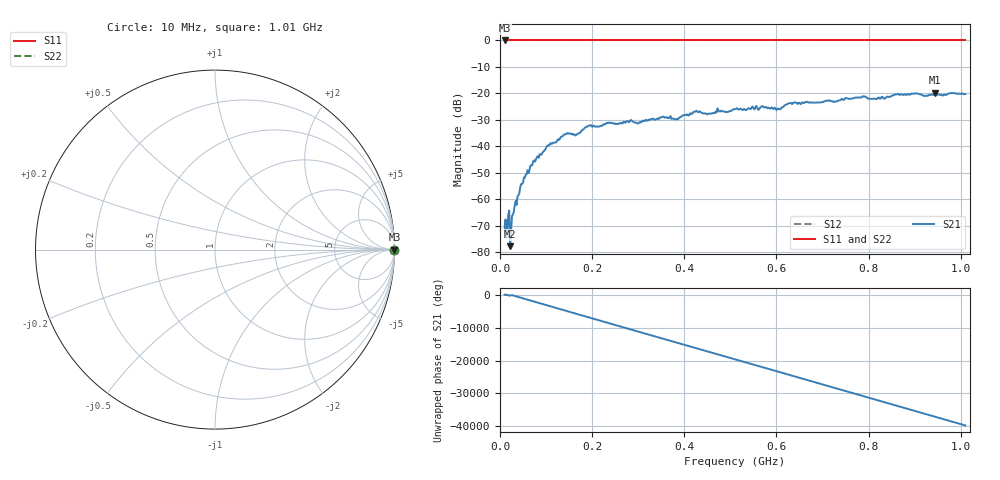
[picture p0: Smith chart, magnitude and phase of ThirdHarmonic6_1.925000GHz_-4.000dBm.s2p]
! 8/16/2025 11:12:16 PM
! C:\ANRITSUVNA\TEMP\TEMP.S2P
! CHANNEL.1
! TR.MEASUREMENT
! RAW.DATA
! RF.CORRECTION.OFF
! AVERAGING.OFF
! IF.BANDWIDTH: 5KHZ
! SWEEPTYPE:  FREQ.SWEEP(Linear)
! Reference Plane Port Info
! PORT:  PORT1  PORT2
! DISTANCE:  0  m  0  m
! TIME:  0  s  0  s
! PHASE.OFFSET:  0  deg.  0  deg.
! LOSS:  0  dB  0  dB
! REF.LOSS:  0  dB  0  dB
! REF.FREQ:  0  Hz  0  Hz
! Power Info
! POWER:  -20  dBm  -20  dBm
! EFF.POWER:  -20  dBm  -20  dBm
! SOURCE.ATTEN:  0  dB  0  dB
! TEST.ATTEN:  0  dB  0  dB
# GHZ S RI R 50.0
! FREQ.GHZ  S11RE  S11IM  S21RE  S21IM  S12RE  S12IM  S22RE  S22IM
!; PortSelection: Port_12
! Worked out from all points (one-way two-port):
!   501 points, 10 MHz to 1.01 GHz, reference 50 ohm
!   highest |S21| = -19.79 dB at 944 MHz (marker M1); lowest = -77.8 dB at 22 MHz (marker M2)
!   lowest |S11| = 0.0 dB at 10 MHz (marker M3)
!   |S11| at or under -10 dB: nowhere
!   |S22| runs from 0.0 to 0.0 dB; largest |S21 - S12| = 1.1
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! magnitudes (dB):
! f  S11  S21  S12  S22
! 10 MHz  0.0  -71.7  0.0  0.0
! 16 MHz  0.0  -71.1  0.0  0.0
! 18 MHz  0.0  -66.1  0.0  0.0
! 22 MHz  0.0  -77.8  0.0  0.0
! 26 MHz  0.0  -66.5  0.0  0.0
! 30 MHz  0.0  -64.8  0.0  0.0
! 48 MHz  0.0  -54.3  0.0  0.0
! 76 MHz  0.0  -45.8  0.0  0.0
! 106 MHz  0.0  -39.8  0.0  0.0
! 136 MHz  0.0  -36.2  0.0  0.0
! 178 MHz  0.0  -34.0  0.0  0.0
! 194 MHz  0.0  -32.1  0.0  0.0
! 344 MHz  0.0  -29.8  0.0  0.0
! 382 MHz  0.0  -29.7  0.0  0.0
! 424 MHz  0.0  -26.9  0.0  0.0
! 510 MHz  0.0  -26.0  0.0  0.0
! 604 MHz  0.0  -25.7  0.0  0.0
! 628 MHz  0.0  -23.7  0.0  0.0
! 678 MHz  0.0  -23.5  0.0  0.0
! 844 MHz  0.0  -21.3  0.0  0.0
! 944 MHz  0.0  -19.8  0.0  0.0
! 1.01 GHz  0.0  -20.2  0.0  0.0
